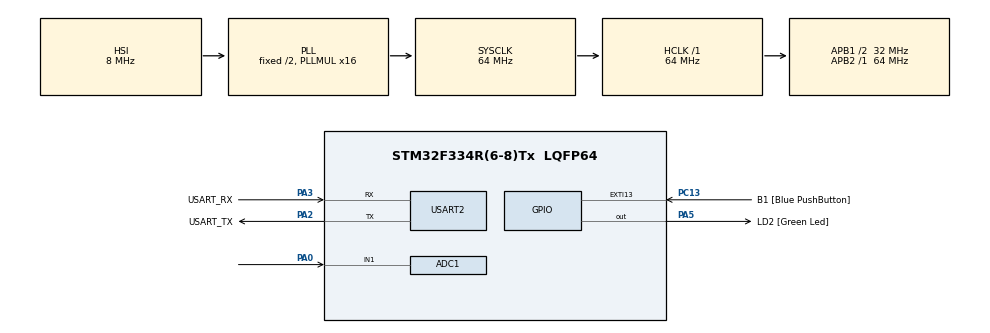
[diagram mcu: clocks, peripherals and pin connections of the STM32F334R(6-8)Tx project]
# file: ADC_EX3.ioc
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ADC1.Channel-0\#ChannelRegularConversion=ADC_CHANNEL_TEMPSENSOR
ADC1.Channel-1\#ChannelRegularConversion=ADC_CHANNEL_1
ADC1.ClockPrescaler=ADC_CLOCK_SYNC_PCLK_DIV4
ADC1.DiscontinuousConvMode=ENABLE
ADC1.NbrOfConversion=2
ADC1.NbrOfConversionFlag=1
ADC1.Offset-0\#ChannelRegularConversion=0
ADC1.Offset-1\#ChannelRegularConversion=0
ADC1.OffsetNumber-0\#ChannelRegularConversion=ADC_OFFSET_NONE
ADC1.OffsetNumber-1\#ChannelRegularConversion=ADC_OFFSET_NONE
ADC1.Rank-0\#ChannelRegularConversion=1
ADC1.Rank-1\#ChannelRegularConversion=2
ADC1.SamplingTime-0\#ChannelRegularConversion=ADC_SAMPLETIME_19CYCLES_5
ADC1.SamplingTime-1\#ChannelRegularConversion=ADC_SAMPLETIME_19CYCLES_5
ADC1.SamplingTimeOPAMP-1\#ChannelRegularConversion=ADC_SAMPLETIME_7CYCLES_5
ADC1.master=1
Mcu.Family=STM32F3
Mcu.Name=STM32F334R(6-8)Tx
Mcu.Package=LQFP64
NVIC.ADC1_2_IRQn=true\:0\:0\:false\:false\:true\:true\:true\:true
NVIC.PriorityGroup=NVIC_PRIORITYGROUP_0
PA0.Mode=IN1-Single-Ended
PA0.Signal=ADC1_IN1
PA13.GPIO_Label=TMS
PA13.Mode=Serial_Wire
PA13.Signal=SYS_JTMS-SWDIO
PA14.GPIO_Label=TCK
PA14.Mode=Serial_Wire
PA14.Signal=SYS_JTCK-SWCLK
PA2.GPIO_Label=USART_TX
PA2.Mode=Asynchronous
PA2.Signal=USART2_TX
PA3.GPIO_Label=USART_RX
PA3.Mode=Asynchronous
PA3.Signal=USART2_RX
PA5.GPIO_Label=LD2 [Green Led]
PA5.Signal=GPIO_Output
PB3.GPIO_Label=SWO
PB3.Signal=SYS_JTDO-TRACESWO
PC13.GPIO_Label=B1 [Blue PushButton]
PC13.GPIO_ModeDefaultEXTI=GPIO_MODE_IT_FALLING
PC13.Signal=GPXTI13
PC14\ /\ OSC32_IN.Signal=RCC_OSC32_IN
PC15\ /\ OSC32_OUT.GPIO_Label=RCC_OSC32_OUT
PC15\ /\ OSC32_OUT.Signal=RCC_OSC32_OUT
PF0\ /\ OSC_IN.Signal=RCC_OSC_IN
PF1\ /\ OSC_OUT.Signal=RCC_OSC_OUT
ProjectManager.HeapSize=0x200
ProjectManager.StackSize=0x400
ProjectManager.TargetToolchain=STM32CubeIDE
RCC.AHBFreq_Value=64000000
RCC.APB1CLKDivider=RCC_HCLK_DIV2
RCC.APB1Freq_Value=32000000
RCC.APB1TimFreq_Value=64000000
RCC.APB2Freq_Value=64000000
RCC.APB2TimFreq_Value=64000000
RCC.CortexFreq_Value=64000000
RCC.FLatency-AdvancedSettings=FLASH_LATENCY_2
RCC.HCLKFreq_Value=64000000
RCC.HSE_VALUE=8000000
RCC.HSI_VALUE=8000000
RCC.PLLMUL=RCC_PLL_MUL16
RCC.SYSCLKFreq_VALUE=64000000
RCC.SYSCLKSourceVirtual=RCC_SYSCLKSOURCE_PLLCLK
USART2.VirtualMode-Asynchronous=VM_ASYNC
VP_ADC1_TempSens_Input.Mode=IN-TempSens
board=NUCLEO-F334R8

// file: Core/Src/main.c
/* USER CODE BEGIN Header */
/**
  ******************************************************************************
  * @file           : main.c
  * @brief          : Main program body
  ******************************************************************************
  * @attention
  *
  * Copyright (c) 2022 STMicroelectronics.
  * All rights reserved.
  *
  * This software is licensed under terms that can be found in the LICENSE file
  * in the root directory of this software component.
  * If no LICENSE file comes with this software, it is provided AS-IS.
  *
  ******************************************************************************
  */
/* USER CODE END Header */
#include "main.h"

ADC_HandleTypeDef hadc1;

UART_HandleTypeDef huart2;

/* USER CODE BEGIN PV */
uint16_t adcVal[2];
uint8_t adcIndex;
uint16_t vol1, vol2;
float temp1, temp2;

/* USER CODE END PV */

void SystemClock_Config(void);
static void MX_GPIO_Init(void);
static void MX_USART2_UART_Init(void);
static void MX_ADC1_Init(void);

int main(void)
{

  /* MCU Configuration--------------------------------------------------------*/

  /* Reset of all peripherals, Initializes the Flash interface and the Systick. */
  HAL_Init();

  /* Configure the system clock */
  SystemClock_Config();

  /* Initialize all configured peripherals */
  MX_GPIO_Init();
  MX_USART2_UART_Init();
  MX_ADC1_Init();
  /* USER CODE BEGIN 2 */

  // Calibrate The ADC On Power-Up For Better Accuracy
    if( HAL_ADCEx_Calibration_Start(&hadc1, ADC_CHANNEL_1) != HAL_OK ){
     	Error_Handler();
    }
    if( HAL_ADCEx_Calibration_Start(&hadc1, ADC_CHANNEL_TEMPSENSOR) != HAL_OK ){
    	Error_Handler();
    }

  /* USER CODE END 2 */

  /* Infinite loop */
  /* USER CODE BEGIN WHILE */
  while (1)
  {
	  HAL_ADC_Start_IT(&hadc1);

    /* USER CODE END WHILE */

  }
}

void SystemClock_Config(void)
{
  RCC_OscInitTypeDef RCC_OscInitStruct = {0};
  RCC_ClkInitTypeDef RCC_ClkInitStruct = {0};

  /** Initializes the RCC Oscillators according to the specified parameters
  * in the RCC_OscInitTypeDef structure.
  */
  RCC_OscInitStruct.OscillatorType = RCC_OSCILLATORTYPE_HSI;
  RCC_OscInitStruct.HSIState = RCC_HSI_ON;
  RCC_OscInitStruct.HSICalibrationValue = RCC_HSICALIBRATION_DEFAULT;
  RCC_OscInitStruct.PLL.PLLState = RCC_PLL_ON;
  RCC_OscInitStruct.PLL.PLLSource = RCC_PLLSOURCE_HSI;
  RCC_OscInitStruct.PLL.PLLMUL = RCC_PLL_MUL16;
  if (HAL_RCC_OscConfig(&RCC_OscInitStruct) != HAL_OK)
  {
    Error_Handler();
  }

  /** Initializes the CPU, AHB and APB buses clocks
  */
  RCC_ClkInitStruct.ClockType = RCC_CLOCKTYPE_HCLK|RCC_CLOCKTYPE_SYSCLK
                              |RCC_CLOCKTYPE_PCLK1|RCC_CLOCKTYPE_PCLK2;
  RCC_ClkInitStruct.SYSCLKSource = RCC_SYSCLKSOURCE_PLLCLK;
  RCC_ClkInitStruct.AHBCLKDivider = RCC_SYSCLK_DIV1;
  RCC_ClkInitStruct.APB1CLKDivider = RCC_HCLK_DIV2;
  RCC_ClkInitStruct.APB2CLKDivider = RCC_HCLK_DIV1;

  if (HAL_RCC_ClockConfig(&RCC_ClkInitStruct, FLASH_LATENCY_2) != HAL_OK)
  {
    Error_Handler();
  }
}

static void MX_ADC1_Init(void)
{

  ADC_MultiModeTypeDef multimode = {0};
  ADC_ChannelConfTypeDef sConfig = {0};

  /** Common config
  */
  hadc1.Instance = ADC1;
  hadc1.Init.ClockPrescaler = ADC_CLOCK_SYNC_PCLK_DIV4;
  hadc1.Init.Resolution = ADC_RESOLUTION_12B;
  hadc1.Init.ScanConvMode = ADC_SCAN_ENABLE;
  hadc1.Init.ContinuousConvMode = DISABLE;
  hadc1.Init.DiscontinuousConvMode = ENABLE;
  hadc1.Init.NbrOfDiscConversion = 1;
  hadc1.Init.ExternalTrigConvEdge = ADC_EXTERNALTRIGCONVEDGE_NONE;
  hadc1.Init.ExternalTrigConv = ADC_SOFTWARE_START;
  hadc1.Init.DataAlign = ADC_DATAALIGN_RIGHT;
  hadc1.Init.NbrOfConversion = 2;
  hadc1.Init.DMAContinuousRequests = DISABLE;
  hadc1.Init.EOCSelection = ADC_EOC_SINGLE_CONV;
  hadc1.Init.LowPowerAutoWait = DISABLE;
  hadc1.Init.Overrun = ADC_OVR_DATA_OVERWRITTEN;
  if (HAL_ADC_Init(&hadc1) != HAL_OK)
  {
    Error_Handler();
  }

  /** Configure the ADC multi-mode
  */
  multimode.Mode = ADC_MODE_INDEPENDENT;
  if (HAL_ADCEx_MultiModeConfigChannel(&hadc1, &multimode) != HAL_OK)
  {
    Error_Handler();
  }

  /** Configure Regular Channel
  */
  sConfig.Channel = ADC_CHANNEL_TEMPSENSOR;
  sConfig.Rank = ADC_REGULAR_RANK_1;
  sConfig.SingleDiff = ADC_SINGLE_ENDED;
  sConfig.SamplingTime = ADC_SAMPLETIME_19CYCLES_5;
  sConfig.OffsetNumber = ADC_OFFSET_NONE;
  sConfig.Offset = 0;
  if (HAL_ADC_ConfigChannel(&hadc1, &sConfig) != HAL_OK)
  {
    Error_Handler();
  }

  /** Configure Regular Channel
  */
  sConfig.Channel = ADC_CHANNEL_1;
  sConfig.Rank = ADC_REGULAR_RANK_2;
  if (HAL_ADC_ConfigChannel(&hadc1, &sConfig) != HAL_OK)
  {
    Error_Handler();
  }

}

static void MX_USART2_UART_Init(void)
{

  huart2.Instance = USART2;
  huart2.Init.BaudRate = 38400;
  huart2.Init.WordLength = UART_WORDLENGTH_8B;
  huart2.Init.StopBits = UART_STOPBITS_1;
  huart2.Init.Parity = UART_PARITY_NONE;
  huart2.Init.Mode = UART_MODE_TX_RX;
  huart2.Init.HwFlowCtl = UART_HWCONTROL_NONE;
  huart2.Init.OverSampling = UART_OVERSAMPLING_16;
  huart2.Init.OneBitSampling = UART_ONE_BIT_SAMPLE_DISABLE;
  huart2.AdvancedInit.AdvFeatureInit = UART_ADVFEATURE_NO_INIT;
  if (HAL_UART_Init(&huart2) != HAL_OK)
  {
    Error_Handler();
  }

}

static void MX_GPIO_Init(void)
{
  GPIO_InitTypeDef GPIO_InitStruct = {0};

  /* GPIO Ports Clock Enable */
  __HAL_RCC_GPIOC_CLK_ENABLE();
  __HAL_RCC_GPIOF_CLK_ENABLE();
  __HAL_RCC_GPIOA_CLK_ENABLE();
  __HAL_RCC_GPIOB_CLK_ENABLE();

  /*Configure GPIO pin Output Level */
  HAL_GPIO_WritePin(LD2_GPIO_Port, LD2_Pin, GPIO_PIN_RESET);

  /*Configure GPIO pin : B1_Pin */
  GPIO_InitStruct.Pin = B1_Pin;
  GPIO_InitStruct.Mode = GPIO_MODE_IT_FALLING;
  GPIO_InitStruct.Pull = GPIO_NOPULL;
  HAL_GPIO_Init(B1_GPIO_Port, &GPIO_InitStruct);

  /*Configure GPIO pin : LD2_Pin */
  GPIO_InitStruct.Pin = LD2_Pin;
  GPIO_InitStruct.Mode = GPIO_MODE_OUTPUT_PP;
  GPIO_InitStruct.Pull = GPIO_NOPULL;
  GPIO_InitStruct.Speed = GPIO_SPEED_FREQ_LOW;
  HAL_GPIO_Init(LD2_GPIO_Port, &GPIO_InitStruct);

}

/* USER CODE BEGIN 4 */

void HAL_ADC_ConvCpltCallback(ADC_HandleTypeDef* hadc) {
  adcVal[adcIndex] = HAL_ADC_GetValue(&hadc1);
  if(adcIndex == 1)  {
    vol1 = 3000 * adcVal[0] / 4096;
    vol2 = 3000 * adcVal[1] / 4096;

    /* LM35DZ 온도 = 전압(mV) / 10 */
    temp1 = vol1 / 10.0;

    /* 내장온도센서 = (Vsens - V25) / 2.5 + 25도 */
    temp2 = ((float)vol2 - 760.0) / 2.5 + 25.0;
  }

  adcIndex++;
  if(adcIndex > 1) adcIndex = 0;
  HAL_ADC_Start_IT(&hadc1);
}

/* USER CODE END 4 */

void Error_Handler(void)
{
  __disable_irq();
  while (1)
  {
  }
}
